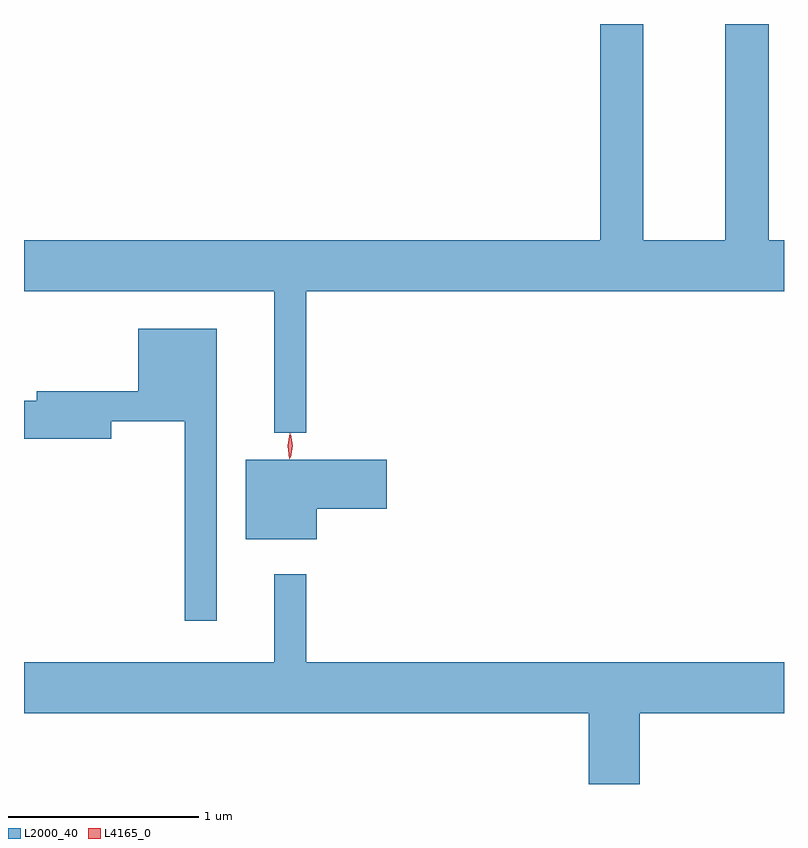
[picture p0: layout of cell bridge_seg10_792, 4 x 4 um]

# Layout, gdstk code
import gdstk
lib = gdstk.Library(unit=1e-6, precision=1e-09)
def P(c, l, *ps):  # polygons
    for p in ps: c.add(gdstk.Polygon(p, *l))
L2000_40 = (2000, 40)
L4165_0 = (4165, 0)

bridge_seg10_792 = lib.new_cell('bridge_seg10_792')
P(bridge_seg10_792, L2000_40, [(391.559,2087.276),(394.074,2087.276),(394.074,2087.544),(393.994,2087.544),(393.994,2088.683),(393.766,2088.683),(393.766,2087.544),(393.334,2087.544),(393.334,2088.683),(393.106,2088.683),(393.106,2087.544),(390.074,2087.544),(390.074,2087.276),(391.391,2087.276),(391.391,2086.533),(391.559,2086.533)],
  [(391.089,2087.079),(390.676,2087.079),(390.676,2086.749),(390.141,2086.749),(390.141,2086.699),(390.074,2086.699),(390.074,2086.501),(390.534,2086.501),(390.534,2086.591),(390.921,2086.591),(390.921,2085.543),(391.089,2085.543)],
  [(391.614,2086.131),(391.984,2086.131),(391.984,2086.389),(391.241,2086.389),(391.241,2085.971),(391.614,2085.971)],
  [(393.314,2085.056),(394.074,2085.056),(394.074,2085.324),(391.559,2085.324),(391.559,2085.788),(391.391,2085.788),(391.391,2085.324),(390.074,2085.324),(390.074,2085.056),(393.046,2085.056),(393.046,2084.683),(393.314,2084.683)])
P(bridge_seg10_792, L4165_0, [(391.471,2086.394),(391.471,2086.394),(391.462,2086.462),(391.472,2086.53),(391.473,2086.53),(391.473,2086.53),(391.482,2086.462),(391.472,2086.394)],
  [(391.478,2086.4),(391.478,2086.4),(391.468,2086.463),(391.478,2086.526),(391.478,2086.527),(391.478,2086.526),(391.488,2086.463),(391.478,2086.4)])

lib.write_gds('bridge_seg10_792.gds')
